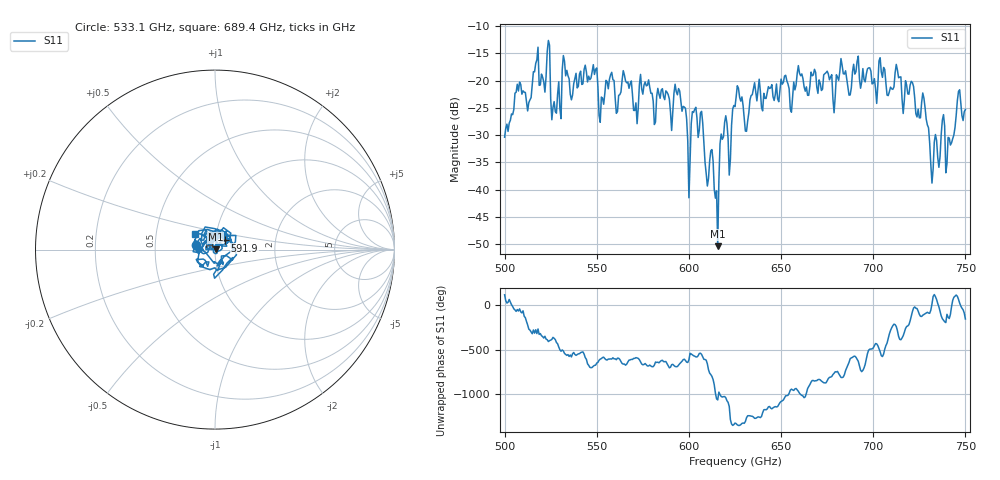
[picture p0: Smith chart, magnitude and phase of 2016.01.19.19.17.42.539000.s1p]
!Created with skrf (http://scikit-rf.org).
# GHz S RI R 50.0
!freq ReS11 ImS11
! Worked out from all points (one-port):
!   401 points, 500 GHz to 750 GHz, reference 50 ohm
!   lowest |S11| = -50.4 dB at 615.6 GHz (marker M1), VSWR 1.01, Z = 50.3 + j0.089 ohm
!   |S11| at or under -10 dB: start of sweep to end of sweep
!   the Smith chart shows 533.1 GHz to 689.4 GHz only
!   S11 on the Smith chart (normalised r, x): 533.1 GHz: 0.81, +0.04; 591.9 GHz: 1.11, +0.11; 689.4 GHz: 0.79, +0.14
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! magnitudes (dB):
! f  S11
! 500 GHz  -30.4
! 507.5 GHz  -21.9
! 513.1 GHz  -24.0
! 516.9 GHz  -16.8
! 523.8 GHz  -12.6
! 526.9 GHz  -23.8
! 531.2 GHz  -18.1
! 533.1 GHz  -19.1
! 562.5 GHz  -22.6
! 591.9 GHz  -22.3
! 593.8 GHz  -22.6
! 600 GHz  -41.5
! 603.1 GHz  -25.3
! 615.6 GHz  -50.4
! 618.1 GHz  -30.8
! 622.5 GHz  -34.5
! 625 GHz  -24.8
! 631.2 GHz  -29.3
! 635 GHz  -21.5
! 656.2 GHz  -23.0
! 660 GHz  -18.6
! 687.5 GHz  -22.6
! 689.4 GHz  -17.0
! 718.8 GHz  -22.4
! 727.5 GHz  -23.2
! 731.9 GHz  -38.8
! 746.2 GHz  -22.0
! 750 GHz  -25.3
